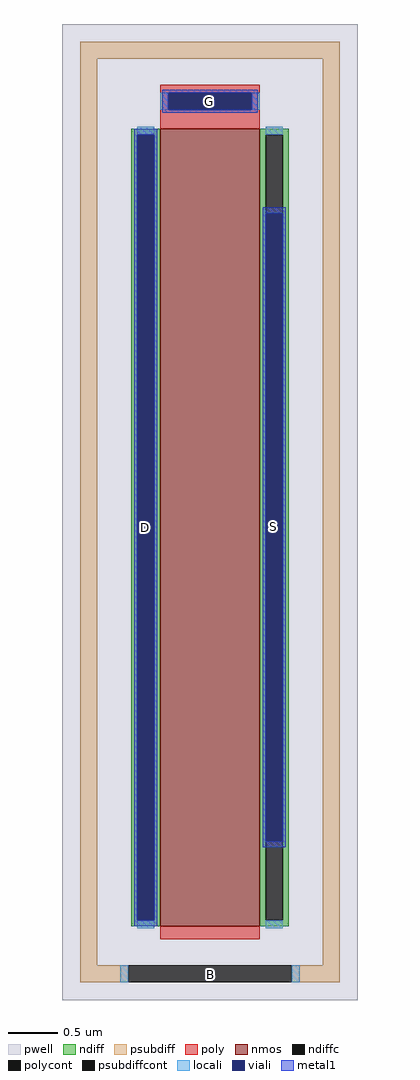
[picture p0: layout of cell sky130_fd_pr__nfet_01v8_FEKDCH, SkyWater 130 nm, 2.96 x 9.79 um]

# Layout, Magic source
magic
tech sky130A
magscale 1 2
<< pwell >>
rect -296 -979 296 979
<< nmos >>
rect -100 -831 100 769
<< ndiff >>
rect -158 757 -100 769
rect -158 -819 -146 757
rect -112 -819 -100 757
rect -158 -831 -100 -819
rect 100 757 158 769
rect 100 -819 112 757
rect 146 -819 158 757
rect 100 -831 158 -819
<< ndiffc >>
rect -146 -819 -112 757
rect 112 -819 146 757
<< psubdiff >>
rect -260 909 260 943
rect -260 -909 -226 909
rect 226 -909 260 909
rect -260 -943 -164 -909
rect 164 -943 260 -909
<< psubdiffcont >>
rect -164 -943 164 -909
<< poly >>
rect -100 841 100 857
rect -100 807 -84 841
rect 84 807 100 841
rect -100 769 100 807
rect -100 -857 100 -831
<< polycont >>
rect -84 807 84 841
<< locali >>
rect -100 807 -84 841
rect 84 807 100 841
rect -146 757 -112 773
rect -146 -835 -112 -819
rect 112 757 146 773
rect 112 -835 146 -819
rect -180 -943 -164 -909
rect 164 -943 180 -909
<< viali >>
rect -84 807 84 841
rect -146 -819 -112 757
rect 112 -661 146 599
<< metal1 >>
rect -96 841 96 847
rect -96 807 -84 841
rect 84 807 96 841
rect -96 801 96 807
rect -152 757 -106 769
rect -152 -819 -146 757
rect -112 -819 -106 757
rect 106 599 152 611
rect 106 -661 112 599
rect 146 -661 152 599
rect 106 -673 152 -661
rect -152 -831 -106 -819
<< labels >>
flabel metal1 s -130 -31 -130 -31 0 FreeSans 320 0 0 0 D
port 22 nsew
flabel metal1 s 128 -30 128 -30 0 FreeSans 320 0 0 0 S
port 24 nsew
flabel metal1 s -1 823 0 823 0 FreeSans 320 0 0 0 G
port 26 nsew
flabel locali s 0 -927 0 -927 0 FreeSans 320 0 0 0 B
port 28 nsew
rlabel psubdiffcont 0 -926 0 -926 0 B
port 28 nsew
rlabel ndiffc -129 -31 -129 -31 0 D
port 22 nsew
rlabel ndiffc 129 -31 129 -31 0 S
port 24 nsew
rlabel polycont 0 824 0 824 0 G
port 26 nsew
<< properties >>
string FIXED_BBOX -243 -926 243 926
string gencell sky130_fd_pr__nfet_01v8
string library sky130
string parameters w 8 l 1 m 1 nf 1 diffcov 100 polycov 100 guard 1 glc 0 grc 0 gtc 0 gbc 1 tbcov 100 rlcov 100 topc 1 botc 0 poverlap 0 doverlap 1 lmin 0.15 wmin 0.42 class mosfet compatible {sky130_fd_pr__nfet_01v8 sky130_fd_pr__nfet_01v8_lvt  sky130_fd_bs_flash__special_sonosfet_star  sky130_fd_pr__nfet_g5v0d10v5 sky130_fd_pr__nfet_05v0_nvt  sky130_fd_pr__nfet_03v3_nvt} full_metal 0 viasrc 80 viadrn 100 viagate 100 viagb 0 viagr 0 viagl 0 viagt 0 doports 1
<< end >>
